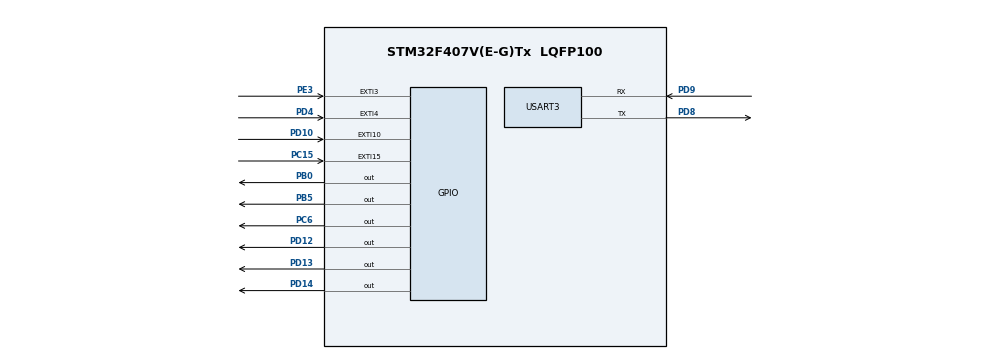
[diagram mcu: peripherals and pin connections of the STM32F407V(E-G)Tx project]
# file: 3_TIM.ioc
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Dma.Request0=USART3_RX
Dma.USART3_RX.0.Direction=DMA_PERIPH_TO_MEMORY
Dma.USART3_RX.0.FIFOMode=DMA_FIFOMODE_DISABLE
Dma.USART3_RX.0.Instance=DMA1_Stream1
Dma.USART3_RX.0.MemDataAlignment=DMA_MDATAALIGN_BYTE
Dma.USART3_RX.0.MemInc=DMA_MINC_ENABLE
Dma.USART3_RX.0.Mode=DMA_NORMAL
Dma.USART3_RX.0.PeriphDataAlignment=DMA_PDATAALIGN_BYTE
Dma.USART3_RX.0.PeriphInc=DMA_PINC_DISABLE
Dma.USART3_RX.0.Priority=DMA_PRIORITY_LOW
Mcu.Family=STM32F4
Mcu.Name=STM32F407V(E-G)Tx
Mcu.Package=LQFP100
NVIC.DMA1_Stream1_IRQn=true\:0\:0\:false\:false\:true\:false\:true\:true
NVIC.EXTI15_10_IRQn=true\:0\:0\:false\:false\:true\:true\:true\:true
NVIC.EXTI3_IRQn=true\:0\:0\:false\:false\:true\:true\:true\:true
NVIC.EXTI4_IRQn=true\:0\:0\:false\:false\:true\:true\:true\:true
NVIC.PriorityGroup=NVIC_PRIORITYGROUP_4
NVIC.TIM2_IRQn=true\:0\:0\:false\:false\:true\:true\:true\:true
NVIC.TIM7_IRQn=true\:0\:0\:false\:false\:true\:true\:true\:true
NVIC.USART3_IRQn=true\:0\:0\:false\:false\:true\:true\:true\:true
PB0.PinState=GPIO_PIN_SET
PB0.Signal=GPIO_Output
PB5.PinState=GPIO_PIN_SET
PB5.Signal=GPIO_Output
PC15-OSC32_OUT.Signal=GPXTI15
PC6.PinState=GPIO_PIN_SET
PC6.Signal=GPIO_Output
PD10.Signal=GPXTI10
PD12.PinState=GPIO_PIN_SET
PD12.Signal=GPIO_Output
PD13.PinState=GPIO_PIN_SET
PD13.Signal=GPIO_Output
PD14.PinState=GPIO_PIN_SET
PD14.Signal=GPIO_Output
PD4.Signal=GPXTI4
PD8.Mode=Asynchronous
PD8.Signal=USART3_TX
PD9.Mode=Asynchronous
PD9.Signal=USART3_RX
PE3.Signal=GPXTI3
PH0-OSC_IN.Mode=HSE-External-Oscillator
PH0-OSC_IN.Signal=RCC_OSC_IN
PH1-OSC_OUT.Mode=HSE-External-Oscillator
PH1-OSC_OUT.Signal=RCC_OSC_OUT
ProjectManager.HeapSize=0x200
ProjectManager.StackSize=0x400
ProjectManager.TargetToolchain=CMake
RCC.48MHZClocksFreq_Value=84000000
RCC.AHBFreq_Value=168000000
RCC.APB1CLKDivider=RCC_HCLK_DIV4
RCC.APB1Freq_Value=42000000
RCC.APB1TimFreq_Value=84000000
RCC.APB2CLKDivider=RCC_HCLK_DIV2
RCC.APB2Freq_Value=84000000
RCC.APB2TimFreq_Value=168000000
RCC.CortexFreq_Value=168000000
RCC.HCLKFreq_Value=168000000
RCC.HSE_VALUE=8000000
RCC.HSI_VALUE=16000000
RCC.LSE_VALUE=32768
RCC.PLLM=4
RCC.PLLN=168
RCC.PLLSourceVirtual=RCC_PLLSOURCE_HSE
RCC.SYSCLKFreq_VALUE=168000000
RCC.SYSCLKSource=RCC_SYSCLKSOURCE_PLLCLK
RCC.VCOOutputFreq_Value=336000000
TIM2.Period=83999
TIM7.AutoReloadPreload=TIM_AUTORELOAD_PRELOAD_DISABLE
TIM7.Period=9999
TIM7.Prescaler=839
USART3.VirtualMode=VM_ASYNC
VP_TIM2_VS_ClockSourceINT.Mode=Internal
VP_TIM7_VS_ClockSourceINT.Mode=Enable_Timer
board=custom

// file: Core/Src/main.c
/* USER CODE BEGIN Header */
/**
 ******************************************************************************
 * @file           : main.c
 * @brief          : Main program body
 ******************************************************************************
 * @attention
 *
 * Copyright (c) 2024 STMicroelectronics.
 * All rights reserved.
 *
 * This software is licensed under terms that can be found in the LICENSE file
 * in the root directory of this software component.
 * If no LICENSE file comes with this software, it is provided AS-IS.
 *
 ******************************************************************************
 */
/* USER CODE END Header */
#include "main.h"

/* USER CODE BEGIN Includes */
#include <stdio.h>
/* USER CODE END Includes */

/* USER CODE BEGIN PV */
uint32_t tim7_count = 0;
uint32_t tim2_count = 0;
uint8_t tim7_update = 0;
uint8_t tim2_update = 0;
/* USER CODE END PV */

void SystemClock_Config(void);
static void MX_GPIO_Init(void);
static void MX_DMA_Init(void);
static void MX_USART3_UART_Init(void);
static void MX_TIM7_Init(void);
static void MX_TIM2_Init(void);
/* USER CODE BEGIN PFP */

// function printf call => _write => __io_putchar.
int __io_putchar(int ch) {
  while (!LL_USART_IsActiveFlag_TXE(USART3));
  LL_USART_TransmitData8(USART3, ch);
  return ch;
}
/* USER CODE END PFP */

int main(void) {

  /* MCU Configuration--------------------------------------------------------*/

  /* Reset of all peripherals, Initializes the Flash interface and the Systick.
   */
  LL_APB2_GRP1_EnableClock(LL_APB2_GRP1_PERIPH_SYSCFG);
  LL_APB1_GRP1_EnableClock(LL_APB1_GRP1_PERIPH_PWR);

  /* System interrupt init*/
  NVIC_SetPriorityGrouping(NVIC_PRIORITYGROUP_4);

  /* SysTick_IRQn interrupt configuration */
  NVIC_SetPriority(SysTick_IRQn,
                   NVIC_EncodePriority(NVIC_GetPriorityGrouping(), 15, 0));

  /* Configure the system clock */
  SystemClock_Config();

  /* Initialize all configured peripherals */
  MX_GPIO_Init();
  MX_DMA_Init();
  MX_USART3_UART_Init();
  MX_TIM7_Init();
  MX_TIM2_Init();
  /* USER CODE BEGIN 2 */
  //= Basic Timer code
  LL_TIM_EnableIT_UPDATE(TIM7);
  LL_TIM_EnableCounter(TIM7);

  uint32_t led_reg = LL_GPIO_PIN_12;
  uint32_t old_led_reg = led_reg;
  uint8_t led_cnt = 0;

  //= General Timer code
  LL_TIM_EnableIT_UPDATE(TIM2);
  LL_TIM_EnableCounter(TIM2);

  /* USER CODE END 2 */

  /* Infinite loop */
  /* USER CODE BEGIN WHILE */
  while (1) {
    //= Basic Timer code
    if (tim7_update) {
      printf("Timer update event : %d\r\n", tim7_count);

      LL_GPIO_TogglePin(GPIOD, led_reg | old_led_reg);

      if (led_cnt < 2) {
        old_led_reg = led_reg;
        led_reg <<= 1;
        led_cnt++;
      } else {
        led_reg = LL_GPIO_PIN_12;
        led_cnt = 0;
      }
      tim7_update = 0;
    }

    //= General Timer code
    if (tim2_update) {
      printf("tim2 counter reaches 1000.\r\n");
      LL_GPIO_TogglePin(GPIOC, LL_GPIO_PIN_6);
      tim2_update = 0;
    }
    /* USER CODE END WHILE */

  }
}

void SystemClock_Config(void) {
  LL_FLASH_SetLatency(LL_FLASH_LATENCY_5);
  while (LL_FLASH_GetLatency() != LL_FLASH_LATENCY_5) {
  }
  LL_PWR_SetRegulVoltageScaling(LL_PWR_REGU_VOLTAGE_SCALE1);
  LL_RCC_HSE_Enable();

  /* Wait till HSE is ready */
  while (LL_RCC_HSE_IsReady() != 1) {
  }
  LL_RCC_PLL_ConfigDomain_SYS(LL_RCC_PLLSOURCE_HSE, LL_RCC_PLLM_DIV_4, 168,
                              LL_RCC_PLLP_DIV_2);
  LL_RCC_PLL_Enable();

  /* Wait till PLL is ready */
  while (LL_RCC_PLL_IsReady() != 1) {
  }
  while (LL_PWR_IsActiveFlag_VOS() == 0) {
  }
  LL_RCC_SetAHBPrescaler(LL_RCC_SYSCLK_DIV_1);
  LL_RCC_SetAPB1Prescaler(LL_RCC_APB1_DIV_4);
  LL_RCC_SetAPB2Prescaler(LL_RCC_APB2_DIV_2);
  LL_RCC_SetSysClkSource(LL_RCC_SYS_CLKSOURCE_PLL);

  /* Wait till System clock is ready */
  while (LL_RCC_GetSysClkSource() != LL_RCC_SYS_CLKSOURCE_STATUS_PLL) {
  }
  LL_Init1msTick(168000000);
  LL_SetSystemCoreClock(168000000);
}

static void MX_TIM2_Init(void) {

  LL_TIM_InitTypeDef TIM_InitStruct = {0};

  /* Peripheral clock enable */
  LL_APB1_GRP1_EnableClock(LL_APB1_GRP1_PERIPH_TIM2);

  /* TIM2 interrupt Init */
  NVIC_SetPriority(TIM2_IRQn,
                   NVIC_EncodePriority(NVIC_GetPriorityGrouping(), 0, 0));
  NVIC_EnableIRQ(TIM2_IRQn);

  TIM_InitStruct.Prescaler = 0;
  TIM_InitStruct.CounterMode = LL_TIM_COUNTERMODE_UP;
  TIM_InitStruct.Autoreload = 83999;
  TIM_InitStruct.ClockDivision = LL_TIM_CLOCKDIVISION_DIV1;
  LL_TIM_Init(TIM2, &TIM_InitStruct);
  LL_TIM_DisableARRPreload(TIM2);
  LL_TIM_SetClockSource(TIM2, LL_TIM_CLOCKSOURCE_INTERNAL);
  LL_TIM_SetTriggerOutput(TIM2, LL_TIM_TRGO_RESET);
  LL_TIM_DisableMasterSlaveMode(TIM2);
}

static void MX_TIM7_Init(void) {

  LL_TIM_InitTypeDef TIM_InitStruct = {0};

  /* Peripheral clock enable */
  LL_APB1_GRP1_EnableClock(LL_APB1_GRP1_PERIPH_TIM7);

  /* TIM7 interrupt Init */
  NVIC_SetPriority(TIM7_IRQn,
                   NVIC_EncodePriority(NVIC_GetPriorityGrouping(), 0, 0));
  NVIC_EnableIRQ(TIM7_IRQn);

  TIM_InitStruct.Prescaler = 839;
  TIM_InitStruct.CounterMode = LL_TIM_COUNTERMODE_UP;
  TIM_InitStruct.Autoreload = 9999;
  LL_TIM_Init(TIM7, &TIM_InitStruct);
  LL_TIM_DisableARRPreload(TIM7);
  LL_TIM_SetTriggerOutput(TIM7, LL_TIM_TRGO_RESET);
  LL_TIM_DisableMasterSlaveMode(TIM7);
}

static void MX_USART3_UART_Init(void) {

  LL_USART_InitTypeDef USART_InitStruct = {0};

  LL_GPIO_InitTypeDef GPIO_InitStruct = {0};

  /* Peripheral clock enable */
  LL_APB1_GRP1_EnableClock(LL_APB1_GRP1_PERIPH_USART3);

  LL_AHB1_GRP1_EnableClock(LL_AHB1_GRP1_PERIPH_GPIOD);
  /**USART3 GPIO Configuration
  PD8   ------> USART3_TX
  PD9   ------> USART3_RX
  */
  GPIO_InitStruct.Pin = LL_GPIO_PIN_8 | LL_GPIO_PIN_9;
  GPIO_InitStruct.Mode = LL_GPIO_MODE_ALTERNATE;
  GPIO_InitStruct.Speed = LL_GPIO_SPEED_FREQ_VERY_HIGH;
  GPIO_InitStruct.OutputType = LL_GPIO_OUTPUT_PUSHPULL;
  GPIO_InitStruct.Pull = LL_GPIO_PULL_NO;
  GPIO_InitStruct.Alternate = LL_GPIO_AF_7;
  LL_GPIO_Init(GPIOD, &GPIO_InitStruct);

  /* USART3 DMA Init */

  /* USART3_RX Init */
  LL_DMA_SetChannelSelection(DMA1, LL_DMA_STREAM_1, LL_DMA_CHANNEL_4);

  LL_DMA_SetDataTransferDirection(DMA1, LL_DMA_STREAM_1,
                                  LL_DMA_DIRECTION_PERIPH_TO_MEMORY);

  LL_DMA_SetStreamPriorityLevel(DMA1, LL_DMA_STREAM_1, LL_DMA_PRIORITY_LOW);

  LL_DMA_SetMode(DMA1, LL_DMA_STREAM_1, LL_DMA_MODE_NORMAL);

  LL_DMA_SetPeriphIncMode(DMA1, LL_DMA_STREAM_1, LL_DMA_PERIPH_NOINCREMENT);

  LL_DMA_SetMemoryIncMode(DMA1, LL_DMA_STREAM_1, LL_DMA_MEMORY_INCREMENT);

  LL_DMA_SetPeriphSize(DMA1, LL_DMA_STREAM_1, LL_DMA_PDATAALIGN_BYTE);

  LL_DMA_SetMemorySize(DMA1, LL_DMA_STREAM_1, LL_DMA_MDATAALIGN_BYTE);

  LL_DMA_DisableFifoMode(DMA1, LL_DMA_STREAM_1);

  /* USART3 interrupt Init */
  NVIC_SetPriority(USART3_IRQn,
                   NVIC_EncodePriority(NVIC_GetPriorityGrouping(), 0, 0));
  NVIC_EnableIRQ(USART3_IRQn);

  USART_InitStruct.BaudRate = 115200;
  USART_InitStruct.DataWidth = LL_USART_DATAWIDTH_8B;
  USART_InitStruct.StopBits = LL_USART_STOPBITS_1;
  USART_InitStruct.Parity = LL_USART_PARITY_NONE;
  USART_InitStruct.TransferDirection = LL_USART_DIRECTION_TX_RX;
  USART_InitStruct.HardwareFlowControl = LL_USART_HWCONTROL_NONE;
  USART_InitStruct.OverSampling = LL_USART_OVERSAMPLING_16;
  LL_USART_Init(USART3, &USART_InitStruct);
  LL_USART_ConfigAsyncMode(USART3);
  LL_USART_Enable(USART3);
}

static void MX_DMA_Init(void) {
  /* Init with LL driver */
  /* DMA controller clock enable */
  LL_AHB1_GRP1_EnableClock(LL_AHB1_GRP1_PERIPH_DMA1);

  /* DMA interrupt init */
  /* DMA1_Stream1_IRQn interrupt configuration */
  NVIC_SetPriority(DMA1_Stream1_IRQn,
                   NVIC_EncodePriority(NVIC_GetPriorityGrouping(), 0, 0));
  NVIC_EnableIRQ(DMA1_Stream1_IRQn);
}

static void MX_GPIO_Init(void) {
  LL_EXTI_InitTypeDef EXTI_InitStruct = {0};
  LL_GPIO_InitTypeDef GPIO_InitStruct = {0};

  /* GPIO Ports Clock Enable */
  LL_AHB1_GRP1_EnableClock(LL_AHB1_GRP1_PERIPH_GPIOE);
  LL_AHB1_GRP1_EnableClock(LL_AHB1_GRP1_PERIPH_GPIOC);
  LL_AHB1_GRP1_EnableClock(LL_AHB1_GRP1_PERIPH_GPIOH);
  LL_AHB1_GRP1_EnableClock(LL_AHB1_GRP1_PERIPH_GPIOB);
  LL_AHB1_GRP1_EnableClock(LL_AHB1_GRP1_PERIPH_GPIOD);

  /**/
  LL_GPIO_SetOutputPin(GPIOB, LL_GPIO_PIN_0 | LL_GPIO_PIN_5);

  /**/
  LL_GPIO_SetOutputPin(GPIOD, LL_GPIO_PIN_12 | LL_GPIO_PIN_13 | LL_GPIO_PIN_14);

  /**/
  LL_GPIO_SetOutputPin(GPIOC, LL_GPIO_PIN_6);

  /**/
  LL_SYSCFG_SetEXTISource(LL_SYSCFG_EXTI_PORTE, LL_SYSCFG_EXTI_LINE3);

  /**/
  LL_SYSCFG_SetEXTISource(LL_SYSCFG_EXTI_PORTC, LL_SYSCFG_EXTI_LINE15);

  /**/
  LL_SYSCFG_SetEXTISource(LL_SYSCFG_EXTI_PORTD, LL_SYSCFG_EXTI_LINE10);

  /**/
  LL_SYSCFG_SetEXTISource(LL_SYSCFG_EXTI_PORTD, LL_SYSCFG_EXTI_LINE4);

  /**/
  EXTI_InitStruct.Line_0_31 = LL_EXTI_LINE_3;
  EXTI_InitStruct.LineCommand = ENABLE;
  EXTI_InitStruct.Mode = LL_EXTI_MODE_IT;
  EXTI_InitStruct.Trigger = LL_EXTI_TRIGGER_RISING;
  LL_EXTI_Init(&EXTI_InitStruct);

  /**/
  EXTI_InitStruct.Line_0_31 = LL_EXTI_LINE_15;
  EXTI_InitStruct.LineCommand = ENABLE;
  EXTI_InitStruct.Mode = LL_EXTI_MODE_IT;
  EXTI_InitStruct.Trigger = LL_EXTI_TRIGGER_RISING;
  LL_EXTI_Init(&EXTI_InitStruct);

  /**/
  EXTI_InitStruct.Line_0_31 = LL_EXTI_LINE_10;
  EXTI_InitStruct.LineCommand = ENABLE;
  EXTI_InitStruct.Mode = LL_EXTI_MODE_IT;
  EXTI_InitStruct.Trigger = LL_EXTI_TRIGGER_RISING;
  LL_EXTI_Init(&EXTI_InitStruct);

  /**/
  EXTI_InitStruct.Line_0_31 = LL_EXTI_LINE_4;
  EXTI_InitStruct.LineCommand = ENABLE;
  EXTI_InitStruct.Mode = LL_EXTI_MODE_IT;
  EXTI_InitStruct.Trigger = LL_EXTI_TRIGGER_RISING;
  LL_EXTI_Init(&EXTI_InitStruct);

  /**/
  LL_GPIO_SetPinPull(GPIOE, LL_GPIO_PIN_3, LL_GPIO_PULL_NO);

  /**/
  LL_GPIO_SetPinPull(GPIOC, LL_GPIO_PIN_15, LL_GPIO_PULL_NO);

  /**/
  LL_GPIO_SetPinPull(GPIOD, LL_GPIO_PIN_10, LL_GPIO_PULL_NO);

  /**/
  LL_GPIO_SetPinPull(GPIOD, LL_GPIO_PIN_4, LL_GPIO_PULL_NO);

  /**/
  LL_GPIO_SetPinMode(GPIOE, LL_GPIO_PIN_3, LL_GPIO_MODE_INPUT);

  /**/
  LL_GPIO_SetPinMode(GPIOC, LL_GPIO_PIN_15, LL_GPIO_MODE_INPUT);

  /**/
  LL_GPIO_SetPinMode(GPIOD, LL_GPIO_PIN_10, LL_GPIO_MODE_INPUT);

  /**/
  LL_GPIO_SetPinMode(GPIOD, LL_GPIO_PIN_4, LL_GPIO_MODE_INPUT);

  /**/
  GPIO_InitStruct.Pin = LL_GPIO_PIN_0 | LL_GPIO_PIN_5;
  GPIO_InitStruct.Mode = LL_GPIO_MODE_OUTPUT;
  GPIO_InitStruct.Speed = LL_GPIO_SPEED_FREQ_LOW;
  GPIO_InitStruct.OutputType = LL_GPIO_OUTPUT_PUSHPULL;
  GPIO_InitStruct.Pull = LL_GPIO_PULL_NO;
  LL_GPIO_Init(GPIOB, &GPIO_InitStruct);

  /**/
  GPIO_InitStruct.Pin = LL_GPIO_PIN_12 | LL_GPIO_PIN_13 | LL_GPIO_PIN_14;
  GPIO_InitStruct.Mode = LL_GPIO_MODE_OUTPUT;
  GPIO_InitStruct.Speed = LL_GPIO_SPEED_FREQ_LOW;
  GPIO_InitStruct.OutputType = LL_GPIO_OUTPUT_PUSHPULL;
  GPIO_InitStruct.Pull = LL_GPIO_PULL_NO;
  LL_GPIO_Init(GPIOD, &GPIO_InitStruct);

  /**/
  GPIO_InitStruct.Pin = LL_GPIO_PIN_6;
  GPIO_InitStruct.Mode = LL_GPIO_MODE_OUTPUT;
  GPIO_InitStruct.Speed = LL_GPIO_SPEED_FREQ_LOW;
  GPIO_InitStruct.OutputType = LL_GPIO_OUTPUT_PUSHPULL;
  GPIO_InitStruct.Pull = LL_GPIO_PULL_NO;
  LL_GPIO_Init(GPIOC, &GPIO_InitStruct);

  /* EXTI interrupt init*/
  NVIC_SetPriority(EXTI3_IRQn,
                   NVIC_EncodePriority(NVIC_GetPriorityGrouping(), 0, 0));
  NVIC_EnableIRQ(EXTI3_IRQn);
  NVIC_SetPriority(EXTI4_IRQn,
                   NVIC_EncodePriority(NVIC_GetPriorityGrouping(), 0, 0));
  NVIC_EnableIRQ(EXTI4_IRQn);
  NVIC_SetPriority(EXTI15_10_IRQn,
                   NVIC_EncodePriority(NVIC_GetPriorityGrouping(), 0, 0));
  NVIC_EnableIRQ(EXTI15_10_IRQn);

}

void Error_Handler(void) {
  __disable_irq();
  while (1) {
  }
}

#ifdef USE_FULL_ASSERT
/**
 * @brief  Reports the name of the source file and the source line number
 *         where the assert_param error has occurred.
 * @param  file: pointer to the source file name
 * @param  line: assert_param error line source number
 * @retval None
 */
void assert_failed(uint8_t *file, uint32_t line) {
  /* USER CODE BEGIN 6 */
  /* User can add his own implementation to report the file name and line
     number, ex: printf("Wrong parameters value: file %s on line %d\r\n", file,
     line) */
  /* USER CODE END 6 */
}
#endif /* USE_FULL_ASSERT */
